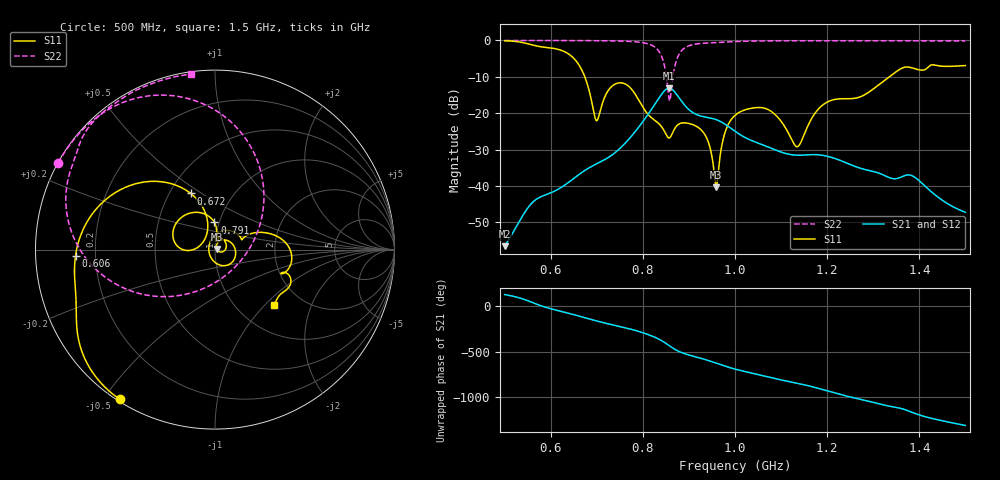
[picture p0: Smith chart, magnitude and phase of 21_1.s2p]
! TOUCHSTONE file generated by CST MICROWAVE STUDIO
! Date and time: Mon Oct 26 12:07:38 2020
! Project name: Scenario_1_Circular_Tissue_out_of_Line_v2.cst
! Parameters = {dy1=0; L_HA=400; MT=2.54; Rad_Dielectric=30; Rad_Lower=7.3; Rad_Upper=30; a_HA=580; a_WG=246; b_HA=500; b_WG=121; c_HA=0; c_WG=187; d_feed=85; dx1=173; h_feed=15; h_lower=18; h_upper=40}
! Header version: 2018
! Port assignment regex: !\s*Touchstone port\s*([0-9]+)\s*=\s*(CST MWS port|CST DS port)\s*([0-9]+|Zmin|Zmax)\s*\(\"(.*)\"\)(\s*mode\s*([0-9]+))?.*
! Touchstone port assignment:
! Touchstone port 1 = CST MWS port 1 ("")
! Touchstone port 2 = CST MWS port 2 ("")
# GHz S DB R 50
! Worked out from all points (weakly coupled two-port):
!   1003 points, 500 MHz to 1.5 GHz, reference 50 ohm
!   highest |S21| = -13.11 dB at 857 MHz (marker M1); lowest = -56.5 dB at 500 MHz (marker M2)
!   lowest |S11| = -40.3 dB at 959 MHz (marker M3), VSWR 1.02, Z = 50.9 + j0.299 ohm
!   |S11| at or under -10 dB: 674.1 MHz to 1.335 GHz (660.8 MHz wide, 65.8 % of centre)
!   |S22| runs from -16.6 to 0.0 dB; largest |S21 - S12| = 3.2e-06
!   S11 on the Smith chart (normalised r, x): 500 MHz: 0.01, -0.55; 606 MHz: 0.13, -0.02; 672 MHz: 0.64, +0.45; 791 MHz: 0.95, +0.29; 1.5 GHz: 1.46, -1.13
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0.5  -0.10 -122.5  -56.53 130.5  -56.53 130.5  -0.01 151.1
0.557  -1.13 -151.5  -44.97 49.1  -44.97 49.1  -0.01 147.2
0.606  -2.18 -177.5  -41.55 -34.1  -41.55 -34.1  -0.02 143.6
0.667  -7.99 119.0  -36.33 -114.5  -36.33 -114.5  -0.04 138.3
0.672  -9.36 113.4  -35.89 -121.7  -35.89 -121.7  -0.04 137.9
0.699  -22.04 141.5  -33.96 -160.1  -33.96 -160.1  -0.07 134.9
0.741  -11.93 157.7  -30.70 149.0  -30.70 149.0  -0.14 129.1
0.791  -16.39 91.4  -23.83 83.6  -23.83 83.6  -0.46 116.8
0.834  -22.78 77.1  -16.02 0.1  -16.02 0.1  -2.82 83.6
0.857  -26.81 80.7  -13.11 -72.4  -13.11 -72.4  -16.18 -24.9
0.868  -24.49 87.3  -13.98 -109.7  -13.98 -109.7  -7.95 -139.2
0.888  -22.65 58.3  -17.38 -157.2  -17.38 -157.2  -2.32 178.3
0.935  -25.97 -9.7  -21.03 133.5  -21.03 133.5  -0.75 151.4
0.959  -40.30 17.7  -21.75 93.7  -21.75 93.7  -0.59 146.4
0.978  -25.42 61.0  -23.00 61.0  -23.00 61.0  -0.46 143.6
1  -20.59 28.1  -24.96 28.1  -24.96 28.1  -0.31 140.5
1.072  -19.00 -49.5  -29.28 -59.8  -29.28 -59.8  -0.13 132.3
1.134  -29.20 -173.7  -31.54 -126.5  -31.54 -126.5  -0.10 126.7
1.167  -21.31 85.4  -31.37 -165.9  -31.37 -165.9  -0.11 124.1
1.334  -10.09 16.8  -37.65 -20.6  -37.65 -20.6  -0.09 111.5
1.385  -7.57 -16.1  -37.21 -90.6  -37.21 -90.6  -0.09 107.5
1.5  -6.90 -43.1  -47.22 126.0  -47.22 126.0  -0.12 97.8
